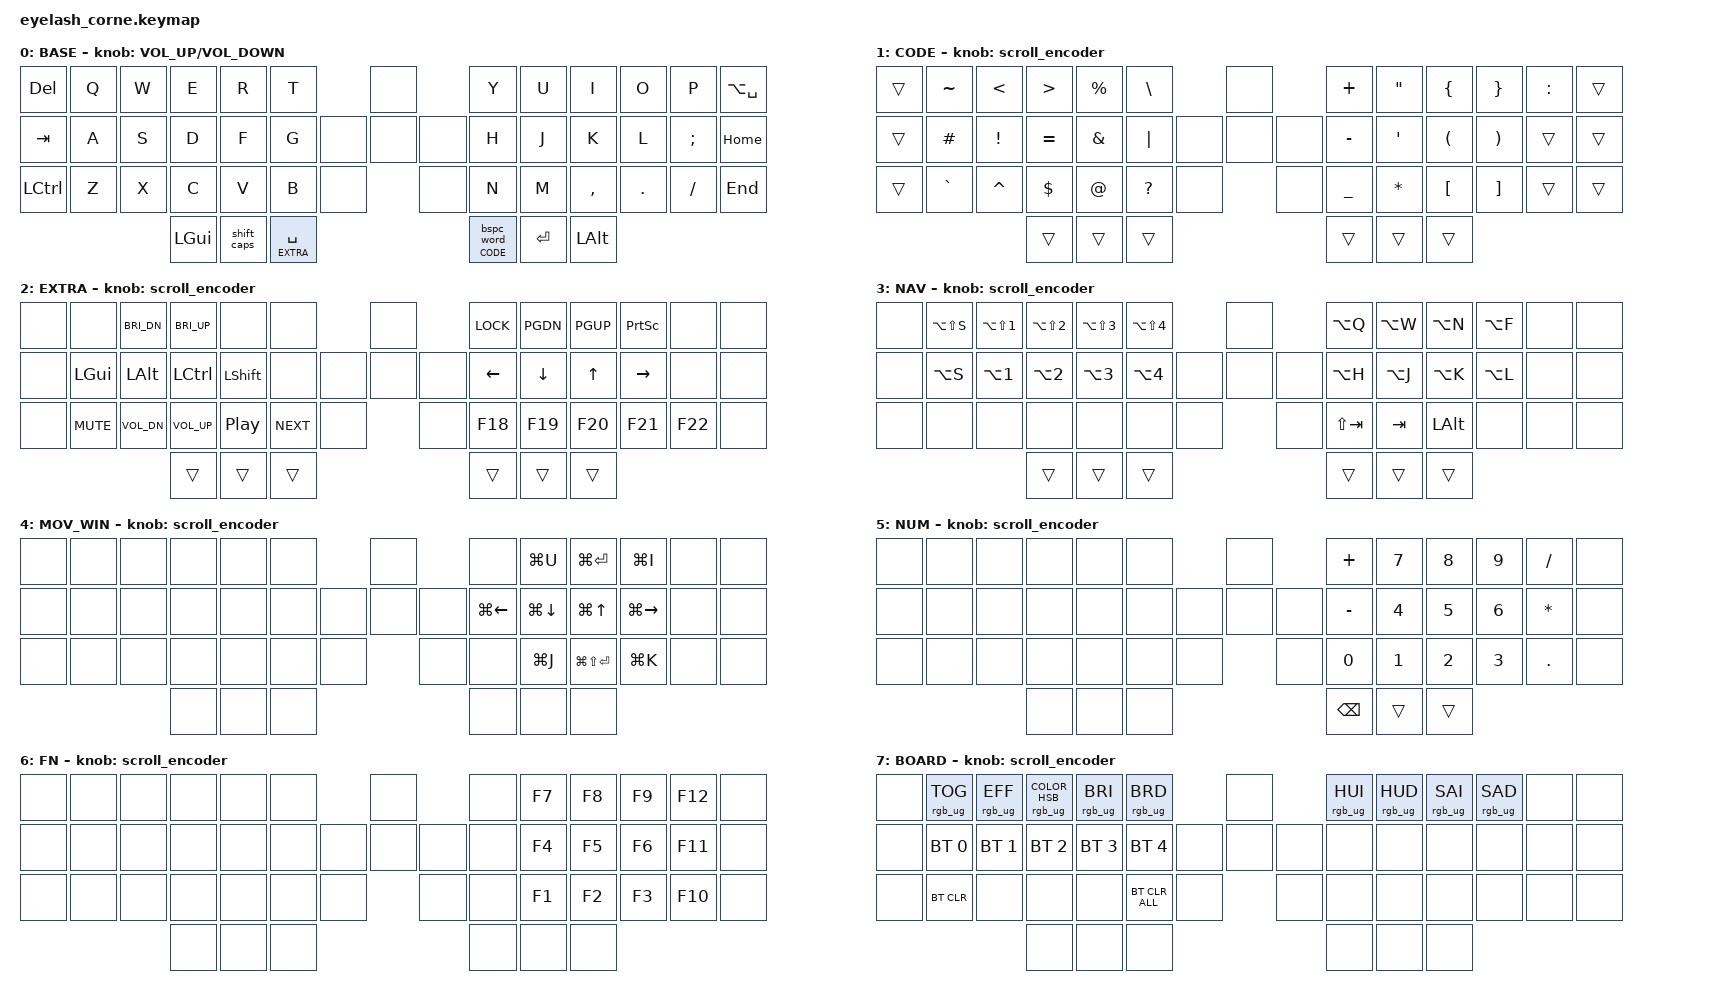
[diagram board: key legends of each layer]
#define ZMK_POINTING_DEFAULT_MOVE_VAL 1200  // 600
#define ZMK_POINTING_DEFAULT_SCRL_VAL 25    // 10

#include <input/processors.dtsi>
#include <zephyr/dt-bindings/input/input-event-codes.h>
#include <behaviors.dtsi>
#include <dt-bindings/zmk/bt.h>
#include <dt-bindings/zmk/ext_power.h>
#include <dt-bindings/zmk/keys.h>
#include <dt-bindings/zmk/outputs.h>
#include <dt-bindings/zmk/pointing.h>
#include <dt-bindings/zmk/rgb.h>

#define BASE    0
#define CODE    1
#define EXTRA   2
#define NAV     3
#define MOV_WIN 4
#define NUM     5
#define FN      6
#define BOARD   7

&mmv_input_listener { input-processors = <&zip_xy_scaler 2 1>; };

&msc_input_listener { input-processors = <&zip_scroll_scaler 2 1>; };

&msc {
    acceleration-exponent = <1>;      // 0
    time-to-max-speed-ms = <100>;     // 300
    delay-ms = <0>;                   // 0
};

&mmv {
    time-to-max-speed-ms = <500>;
    acceleration-exponent = <1>;
    trigger-period-ms = <16>;
};

&lt {
    flavor = "balanced";
    tapping-term-ms = <200>;
    quick-tap-ms = <175>;
};

/ {
    // Hold both thumbs (EXTRA + CODE) to get NAV
    conditional_layers {
        compatible = "zmk,conditional-layers";
        tri_layer {
            if-layers = <EXTRA CODE>;
            then-layer = <NAV>;
        };
    };

    combos {
        compatible = "zmk,combos";
        combo_kj_esc {
            timeout-ms = <50>;
            key-positions = <23 24>; // J and K positions
            bindings = <&kp ESC>;
            layers = <0>;
        };
//        combo_mcomma_enter {
//            timeout-ms = <50>;
//            key-positions = <37 38>; // M and , positions
//            bindings = <&kp ENTER>;
//            layers = <0>;
//        };
        combo_df_numpad {
            timeout-ms = <50>;
            key-positions = <16 17>; // D and F positions
            bindings = <&mo NUM>;
            layers = <0>;
        };
//        combo_cv_fn {
//            timeout-ms = <50>;
//            key-positions = <31 32>; // C and V positions
//            bindings = <&mo FN>;
//            layers = <0>;
//        };
        combo_sdf_fn {
            timeout-ms = <50>;
            key-positions = <15 16 17>; // S, D and F positions
            bindings = <&mo FN>;
            layers = <0>;
        };
        combo_cv_mov_win {
            timeout-ms = <50>;
            key-positions = <31 32>; // C and V positions
            bindings = <&mo MOV_WIN>;
            layers = <0>;
        };
        combo_slash_end_board {
            timeout-ms = <50>;
            key-positions = <40 41>; // / (right of DOT) and END positions
            bindings = <&mo BOARD>;
            layers = <0>;
        };
    };

    behaviors {
        shift_caps: shift_caps {
            compatible = "zmk,behavior-tap-dance";
            label = "TD_SHIFT_CAPS";
            #binding-cells = <0>;
            tapping-term-ms = <200>;
            bindings = <&kp LEFT_SHIFT>, <&led_caps_lock>;
        };
        // Backspace; Shift+Backspace deletes the previous word (Alt+Backspace)
        bspc_word: bspc_word {
            compatible = "zmk,behavior-mod-morph";
            #binding-cells = <0>;
            bindings = <&kp BSPC>, <&kp LA(BSPC)>;
            mods = <(MOD_LSFT|MOD_RSFT)>;
        };
        // Layer-tap with a custom tap behavior (same timing as &lt)
        lt_bspc: lt_bspc {
            compatible = "zmk,behavior-hold-tap";
            #binding-cells = <2>;
            flavor = "balanced";
            tapping-term-ms = <200>;
            quick-tap-ms = <175>;
            bindings = <&mo>, <&bspc_word>;
        };
        f_nav2: f_nav2 {
            compatible = "zmk,behavior-tap-dance";
            label = "TD_F_NAV2";
            #binding-cells = <0>;
            tapping-term-ms = <200>;
            bindings = <&kp F>, <&sl MOV_WIN>;
        };

        // desktop shortcuts
        desk_5: desk_5 {
            compatible = "zmk,behavior-macro";
            #binding-cells = <0>;
            wait-ms = <50>;
            bindings = <&macro_press &kp LALT>,
                <&macro_tap &kp N5>,
                <&macro_release &kp LALT>;
        };

        alt_tab: alt_tab {
            compatible = "zmk,behavior-macro";
            #binding-cells = <0>;
            wait-ms = <50>;
            bindings = <&macro_press &kp LALT>,
                <&macro_tap &kp TAB>,
                <&macro_release &kp LALT>;
        };
        ctrl_bspc: ctrl_bspc {
            compatible = "zmk,behavior-macro";
            #binding-cells = <0>;
            wait-ms = <50>;
            bindings = <&macro_press &kp LCTRL>,
                <&macro_tap &kp BSPC>,
                <&macro_release &kp LCTRL>;
        };
		led_caps_lock: led_caps_lock {
            compatible = "zmk,behavior-macro";
            #binding-cells = <0>;
            wait-ms = <50>;
            bindings = <&macro_tap &kp CAPS>,
                <&macro_tap &rgb_ug RGB_TOG>;
        };
    };

    rgb_encoder: rgb_encoder {
        compatible = "zmk,behavior-sensor-rotate";
        #sensor-binding-cells = <0>;
        bindings = <&rgb_ug RGB_BRI>, <&rgb_ug RGB_BRD>;
    };

    scroll_encoder: scroll_encoder {
        compatible = "zmk,behavior-sensor-rotate";
        #sensor-binding-cells = <0>;
        bindings = <&msc SCRL_DOWN>, <&msc SCRL_UP>;
        tap-ms = <100>;
    };

    keymap {
        compatible = "zmk,keymap";

        base_layer {
            display-name = "BASE";
            bindings = <
&kp DEL    &kp Q     &kp W      &kp E     &kp R			&kp T                                  &none                       &kp Y           &kp U        &kp I      &kp O    &kp P       &kp LA(SPACE)
&kp TAB    &kp A     &kp S      &kp D     &kp F			&kp G                           &none  &none    &none              &kp H           &kp J        &kp K      &kp L    &kp SEMI    &kp HOME
&kp LCTRL  &kp Z     &kp X      &kp C     &kp V			&kp B            &none                 &none                       &kp N           &kp M        &kp COMMA  &kp DOT  &kp FSLH    &kp END
                                &kp LGUI  &shift_caps   &lt EXTRA SPACE                                                &lt_bspc CODE 0 &kp ENTER    &kp LALT
            >;
            sensor-bindings = <&inc_dec_kp C_VOLUME_UP C_VOLUME_DOWN>;
        };

        code_layer {
            display-name = "CODE";
            bindings = <
&trans    &kp TILDE   &kp LT        &kp GT      &kp PERCENT    &kp BSLH                                 &none                   &kp PLUS         &kp DQT      &kp LBRC   &kp RBRC  &kp COLON     &trans   
&trans    &kp HASH    &kp EXCL      &kp EQUAL   &kp AMPS       &kp PIPE                        &none    &none    &none          &kp MINUS        &kp SQT      &kp LPAR   &kp RPAR  &trans        &trans   
&trans    &kp GRAVE   &kp CARET     &kp DOLLAR  &kp AT         &kp QMARK           &none                &none                   &kp UNDER        &kp STAR     &kp LBKT   &kp RBKT  &trans        &trans   
                                    &trans      &trans         &trans                                                   &trans           &trans       &trans
            >;
            sensor-bindings = <&scroll_encoder>;
        };

        extra_layer {
            display-name = "EXTRA";
            bindings = <
&none     &none            &kp C_BRI_DN	 &kp C_BRI_UP   &none           &none                                   &none                 &kp K_LOCK	   &kp PGDN    &kp PGUP  &kp PSCRN  &none	  &none
&none     &kp LGUI	   &kp LALT      &kp LCTRL      &kp LSHIFT      &none                          &none    &none    &none        &kp LEFT  	   &kp DOWN    &kp UP    &kp RIGHT  &none      &none
&none     &kp C_MUTE       &kp C_VOL_DN  &kp C_VOL_UP   &kp C_PP        &kp C_NEXT		&none				    &none				  &kp F18  	   &kp F19     &kp F20   &kp F21    &kp F22    &none
									     &trans		    &trans          &trans														  &trans    &trans      &trans
            >;
            sensor-bindings = <&scroll_encoder>;
        };

        nav_layer {
            display-name = "NAV";
            bindings = <
&none     &kp LA(LS(S)) &kp LA(LS(N1))  &kp LA(LS(N2))  &kp LA(LS(N3))  &kp LA(LS(N4))                          &none                   &kp LA(Q)      &kp LA(W)   &kp LA(N)      &kp LA(F)      &none     &none
&none     &kp LA(S)   &kp LA(N1)     &kp LA(N2)      &kp LA(N3)      &kp LA(N4)                       &none  &none    &none          &kp LA(H)      &kp LA(J)   &kp LA(K)      &kp LA(L)      &none     &none
&none     &none       &none           &none           &none           &none                 &none             &none                   &kp LS(TAB)    &kp TAB     &kp LALT       &none          &none     &none
                                      &trans          &trans          &trans                                                          &trans         &trans      &trans
            >;
            sensor-bindings = <&scroll_encoder>;
        };

        mov_win_layer {
            display-name = "MOV_WIN";
            bindings = <
&none     &none     &none      &none      &none       &none                           &none                   &none         &kp LG(U)     &kp LG(ENTER)      &kp LG(I)      &none      &none
&none     &none     &none      &none      &none       &none                    &none  &none    &none          &kp LG(LEFT)  &kp LG(DOWN)  &kp LG(UP)         &kp LG(RIGHT)  &none      &none
&none     &none     &none      &none      &none       &none         &none             &none                   &none         &kp LG(J)     &kp LG(LS(ENTER))  &kp LG(K)      &none      &none
                               &none      &none       &none                                                   &none         &none         &none
            >;
            sensor-bindings = <&scroll_encoder>;
        };

        numpad_layer {
            display-name = "NUM";
            bindings = <
&none     &none     &none      &none      &none       &none                              &none					&kp PLUS    &kp N7     &kp N8     &kp N9     &kp FSLH   &none
&none     &none     &none      &none      &none       &none                     &none    &none    &none         &kp MINUS	&kp N4     &kp N5     &kp N6     &kp STAR   &none
&none     &none     &none      &none      &none       &none            &none             &none					&kp N0      &kp N1     &kp N2     &kp N3     &kp DOT    &none
                               &none      &none       &none                                                     &kp BSPC    &trans     &trans
            >;
            sensor-bindings = <&scroll_encoder>;
        };

        fn_layer {
            display-name = "FN";
            bindings = <
&none     &none     &none      &none      &none       &none                                    &none                         &none       &kp F7     &kp F8     &kp F9     &kp F12    &none
&none     &none     &none      &none      &none       &none                           &none    &none    &none                &none       &kp F4     &kp F5     &kp F6     &kp F11    &none
&none     &none     &none      &none      &none       &none            &none                   &none                         &none       &kp F1     &kp F2     &kp F3     &kp F10    &none
                               &none      &none       &none                                                                  &none       &none      &none
            >;
            sensor-bindings = <&scroll_encoder>;
        };

        board_layer {
            display-name = "BOARD";
            bindings = <
&none    &rgb_ug RGB_TOG  &rgb_ug RGB_EFF  &rgb_ug RGB_COLOR_HSB(0,0,100)  &rgb_ug RGB_BRI    &rgb_ug RGB_BRD                  &none                    &rgb_ug RGB_HUI       &rgb_ug RGB_HUD         &rgb_ug RGB_SAI        &rgb_ug RGB_SAD       &none     &none
&none    &bt BT_SEL 0     &bt BT_SEL 1     &bt BT_SEL 2                    &bt BT_SEL 3       &bt BT_SEL 4             &none   &none    &none           &none       &none         &none        &none       &none     &none
&none    &bt BT_CLR       &none            &none                           &none              &bt BT_CLR_ALL      &none        &none                    &none       &none         &none        &none       &none     &none
                          &none            &none                           &none                                                                        &none       &none         &none
            >;
            sensor-bindings = <&scroll_encoder>;
        };
    };
};
